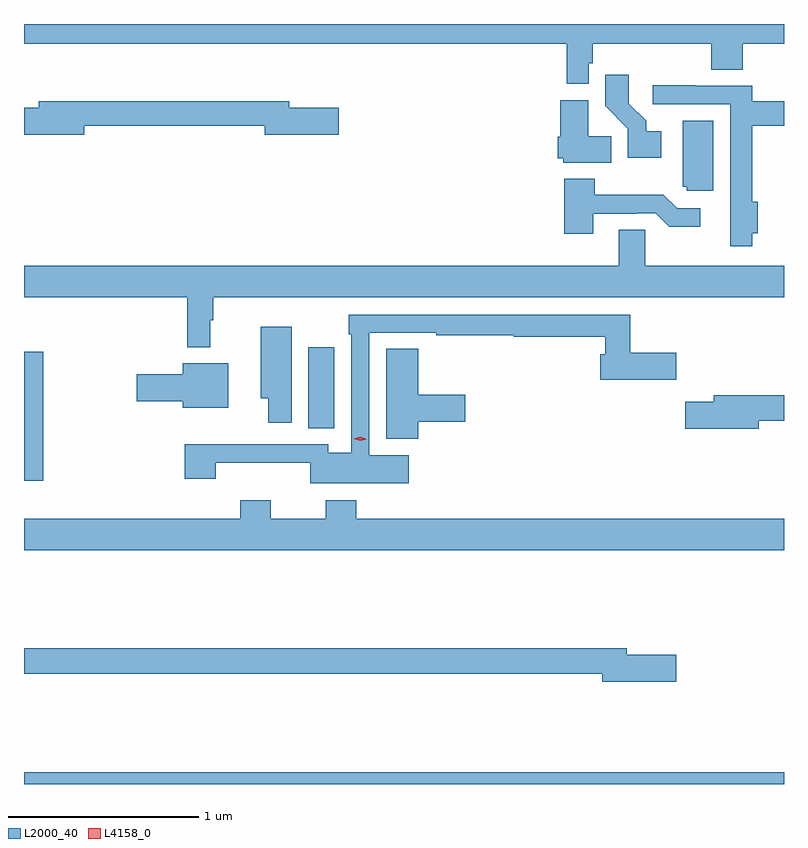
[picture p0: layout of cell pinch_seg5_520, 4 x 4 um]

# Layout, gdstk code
import gdstk
lib = gdstk.Library(unit=1e-6, precision=1e-09)
def R(c, l, rs):  # rectangles x0, y0, x1, y1
    for r in rs: c.add(gdstk.rectangle(r[:2], r[2:], *l))
def P(c, l, *ps):  # polygons
    for p in ps: c.add(gdstk.Polygon(p, *l))
L2000_40 = (2000, 40)
L4158_0 = (4158, 0)

pinch_seg5_520 = lib.new_cell('pinch_seg5_520')
R(pinch_seg5_520, L2000_40, [(886.686,836.881,890.686,836.944), (886.686,838.476,886.787,839.156), (888.182,838.753,888.319,839.179)])
P(pinch_seg5_520, L2000_40, [(886.686,840.776),(889.543,840.776),(889.543,840.566),(889.659,840.566),(889.659,840.675),(889.679,840.675),(889.679,840.776),(890.303,840.776),(890.303,840.64),(890.468,840.64),(890.468,840.776),(890.686,840.776),(890.686,840.881),(886.686,840.881)],
  [(890.041,840.316),(889.96,840.316),(889.96,840.371),(889.87,840.461),(889.87,840.613),(889.744,840.613),(889.744,840.45),(889.863,840.331),(889.863,840.176),(890.041,840.176)],
  [(890.519,839.78),(890.549,839.78),(890.549,839.946),(890.519,839.946),(890.519,840.346),(890.686,840.346),(890.686,840.475),(890.519,840.475),(890.519,840.555),(890.219,840.555),(890.219,840.558),(889.995,840.558),(889.995,840.459),(890.403,840.459),(890.403,839.934),(890.402,839.934),(890.402,839.712),(890.519,839.712)],
  [(889.778,840.29),(889.657,840.29),(889.657,840.481),(889.508,840.481),(889.508,840.288),(889.496,840.288),(889.496,840.174),(889.524,840.174),(889.524,840.152),(889.778,840.152)],
  [(887.002,840.346),(887.954,840.346),(887.954,840.299),(888.343,840.299),(888.343,840.441),(888.082,840.441),(888.082,840.475),(886.763,840.475),(886.763,840.441),(886.686,840.441),(886.686,840.299),(887.002,840.299)],
  [(890.314,840.373),(890.153,840.373),(890.153,840.024),(890.175,840.024),(890.175,840.003),(890.314,840.003)],
  [(889.681,839.883),(889.91,839.883),(889.91,839.886),(890.01,839.886),(890.083,839.813),(890.245,839.813),(890.245,839.91),(890.124,839.91),(890.051,839.983),(889.689,839.983),(889.689,840.067),(889.529,840.067),(889.529,839.778),(889.681,839.778)],
  [(887.666,839.321),(887.681,839.321),(887.681,839.444),(890.686,839.444),(890.686,839.608),(889.956,839.608),(889.956,839.798),(889.817,839.798),(889.817,839.608),(886.686,839.608),(886.686,839.444),(887.545,839.444),(887.545,839.181),(887.666,839.181)],
  [(888.712,838.612),(888.504,838.612),(888.504,839.256),(888.856,839.256),(888.856,839.244),(889.264,839.244),(889.264,839.236),(889.745,839.236),(889.745,839.143),(889.718,839.143),(889.718,839.009),(890.119,839.009),(890.119,839.151),(889.877,839.151),(889.877,839.352),(888.396,839.352),(888.396,839.249),(888.408,839.249),(888.408,838.624),(888.288,838.624),(888.288,838.668),(887.779,838.668),(887.779,838.67),(887.531,838.67),(887.531,838.488),(887.696,838.488),(887.696,838.571),(888.192,838.571),(888.192,838.463),(888.712,838.463)],
  [(888.094,839.287),(887.933,839.287),(887.933,838.91),(887.972,838.91),(887.972,838.782),(888.094,838.782)],
  [(888.76,838.787),(889.009,838.787),(889.009,838.929),(888.76,838.929),(888.76,839.171),(888.593,839.171),(888.593,838.697),(888.76,838.697)],
  [(887.761,839.095),(887.522,839.095),(887.522,839.037),(887.28,839.037),(887.28,838.895),(887.522,838.895),(887.522,838.862),(887.761,838.862)],
  [(890.554,838.792),(890.686,838.792),(890.686,838.928),(890.315,838.928),(890.315,838.892),(890.166,838.892),(890.166,838.75),(890.554,838.75)],
  [(890.686,838.276),(888.434,838.276),(888.434,838.375),(888.274,838.375),(888.274,838.276),(887.985,838.276),(887.985,838.375),(887.825,838.375),(887.825,838.276),(886.686,838.276),(886.686,838.112),(890.686,838.112)],
  [(890.119,837.56),(889.858,837.56),(889.858,837.596),(886.686,837.596),(886.686,837.46),(889.73,837.46),(889.73,837.418),(890.119,837.418)])
P(pinch_seg5_520, L4158_0, [(888.455,838.688),(888.421,838.699),(888.42,838.699),(888.421,838.699),(888.456,838.708),(888.49,838.696),(888.49,838.696),(888.49,838.696)])

lib.write_gds('pinch_seg5_520.gds')
